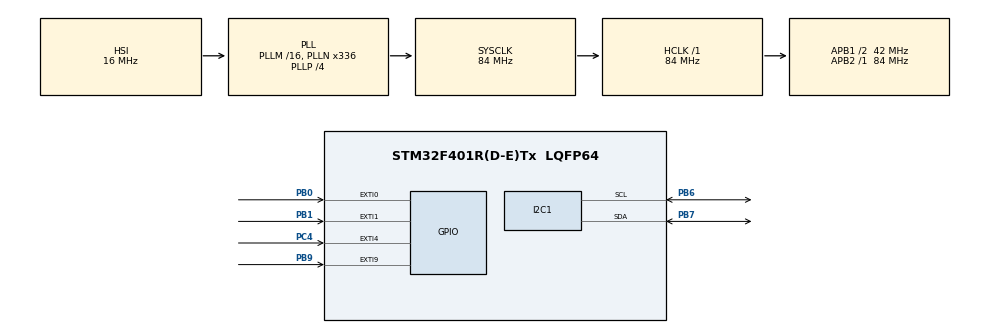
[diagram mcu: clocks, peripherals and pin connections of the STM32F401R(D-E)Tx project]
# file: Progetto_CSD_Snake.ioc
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Mcu.Family=STM32F4
Mcu.Name=STM32F401R(D-E)Tx
Mcu.Package=LQFP64
NVIC.EXTI0_IRQn=true\:0\:1\:false\:false\:true\:true\:true\:true
NVIC.EXTI1_IRQn=true\:0\:1\:false\:false\:true\:true\:true\:true
NVIC.EXTI4_IRQn=true\:0\:1\:false\:false\:true\:true\:true\:true
NVIC.EXTI9_5_IRQn=true\:0\:1\:false\:false\:true\:true\:true\:true
NVIC.PriorityGroup=NVIC_PRIORITYGROUP_0
NVIC.TIM1_UP_TIM10_IRQn=true\:0\:0\:false\:false\:true\:true\:true\:true
PA13.GPIO_Label=TMS
PA13.Mode=Serial_Wire
PA13.Signal=SYS_JTMS-SWDIO
PA14.GPIO_Label=TCK
PA14.Mode=Serial_Wire
PA14.Signal=SYS_JTCK-SWCLK
PB0.Signal=GPXTI0
PB1.Signal=GPXTI1
PB3.GPIO_Label=SWO
PB3.Signal=SYS_JTDO-SWO
PB6.Mode=I2C
PB6.Signal=I2C1_SCL
PB7.Mode=I2C
PB7.Signal=I2C1_SDA
PB9.Signal=GPXTI9
PC14-OSC32_IN.Mode=LSE-External-Oscillator
PC14-OSC32_IN.Signal=RCC_OSC32_IN
PC15-OSC32_OUT.Mode=LSE-External-Oscillator
PC15-OSC32_OUT.Signal=RCC_OSC32_OUT
PC4.Signal=GPXTI4
PH0\ -\ OSC_IN.Mode=HSE-External-Clock-Source
PH0\ -\ OSC_IN.Signal=RCC_OSC_IN
PH1\ -\ OSC_OUT.Mode=HSE-External-Clock-Source
PH1\ -\ OSC_OUT.Signal=RCC_OSC_OUT
ProjectManager.HeapSize=0x200
ProjectManager.StackSize=0x400
ProjectManager.TargetToolchain=STM32CubeIDE
RCC.48MHZClocksFreq_Value=48000000
RCC.AHBFreq_Value=84000000
RCC.APB1CLKDivider=RCC_HCLK_DIV2
RCC.APB1Freq_Value=42000000
RCC.APB1TimFreq_Value=84000000
RCC.APB2Freq_Value=84000000
RCC.APB2TimFreq_Value=84000000
RCC.CortexFreq_Value=84000000
RCC.HCLKFreq_Value=84000000
RCC.HSE_VALUE=8000000
RCC.HSI_VALUE=16000000
RCC.PLLN=336
RCC.PLLP=RCC_PLLP_DIV4
RCC.PLLQ=7
RCC.SYSCLKFreq_VALUE=84000000
RCC.SYSCLKSource=RCC_SYSCLKSOURCE_PLLCLK
RCC.VCOOutputFreq_Value=336000000
TIM10.Period=1000 - 1
TIM10.Prescaler=42000 - 1
VP_TIM10_VS_ClockSourceINT.Mode=Enable_Timer
board=NUCLEO-F401RE

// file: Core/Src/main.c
/* USER CODE BEGIN Header */
/**
  ******************************************************************************
  * @file           : main.c
  * @brief          : Main program body
  ******************************************************************************
  * @attention
  *
  * Copyright (c) 2022 STMicroelectronics.
  * All rights reserved.
  *
  * This software is licensed under terms that can be found in the LICENSE file
  * in the root directory of this software component.
  * If no LICENSE file comes with this software, it is provided AS-IS.
  *
  ******************************************************************************
  */
/* USER CODE END Header */
#include "main.h"
#include "snake.h"
#include "punto.h"
#include "ssd1306.h"
#include "ssd1306_fonts.h"
#include <stdlib.h>
#include <stdio.h>
#include <string.h>

I2C_HandleTypeDef hi2c1;

TIM_HandleTypeDef htim10;

void SystemClock_Config(void);
static void MX_GPIO_Init(void);
static void MX_I2C1_Init(void);
static void MX_TIM10_Init(void);

/* USER CODE BEGIN 0 */
bool lock = false;
int dir_s;
char str[10];
extern int score;
extern bool game_over;
snake * my_snake;
punto frutto;

void HAL_TIM_PeriodElapsedCallback(TIM_HandleTypeDef * htim) {
	if (htim == &htim10){

		HAL_NVIC_EnableIRQ(EXTI0_IRQn);
		HAL_NVIC_EnableIRQ(EXTI1_IRQn);
		HAL_NVIC_EnableIRQ(EXTI4_IRQn);
		HAL_NVIC_EnableIRQ(EXTI9_5_IRQn);

		muovi(my_snake,dir_s,&frutto);

		ssd1306_Fill(Black);
		if (game_over){
			ssd1306_SetCursor(0, 30);
			ssd1306_WriteString("GAME OVER",Font_11x18, White);
			ssd1306_UpdateScreen();
			HAL_TIM_Base_Stop_IT(&htim10);

		}
		else{
			for(int i = 0;i<my_snake ->size;++i){
				punto myPunto = (my_snake->punti_snake)[i];
				ssd1306_FillRectangle(myPunto.x, myPunto.y, myPunto.x+7, myPunto.y+7, White);
			}
			ssd1306_FillRectangle(frutto.x, frutto.y, frutto.x+7, frutto.y+7, White);
			sprintf(str,"%d", score);
			ssd1306_SetCursor(113, 53);
			ssd1306_WriteString(str,Font_7x10, White);
			ssd1306_UpdateScreen();
		}

	}
}

void HAL_GPIO_EXTI_Callback(uint16_t GPIO_Pin){

	switch (GPIO_Pin) {
		case GPIO_PIN_0:
			if(dir_s != SINISTRA){
				dir_s = DESTRA;

				HAL_NVIC_DisableIRQ(EXTI1_IRQn);
				HAL_NVIC_DisableIRQ(EXTI4_IRQn);
				HAL_NVIC_DisableIRQ(EXTI9_5_IRQn);
			}

			break;
		case GPIO_PIN_1:

			if(dir_s != SOPRA){
				dir_s = SOTTO;

				HAL_NVIC_DisableIRQ(EXTI0_IRQn);
				HAL_NVIC_DisableIRQ(EXTI4_IRQn);
				HAL_NVIC_DisableIRQ(EXTI9_5_IRQn);

			}

			break;
		case GPIO_PIN_4:
			if(dir_s != SOTTO){
				dir_s = SOPRA;

				HAL_NVIC_DisableIRQ(EXTI0_IRQn);
				HAL_NVIC_DisableIRQ(EXTI1_IRQn);
				HAL_NVIC_DisableIRQ(EXTI9_5_IRQn);
			}
			break;
		case GPIO_PIN_9:
			if(dir_s != DESTRA){
				dir_s = SINISTRA;

				HAL_NVIC_DisableIRQ(EXTI0_IRQn);
				HAL_NVIC_DisableIRQ(EXTI1_IRQn);
				HAL_NVIC_DisableIRQ(EXTI4_IRQn);
			}
			break;
		default:
			break;
	}

}

/* USER CODE END 0 */

int main(void)
{

  /* MCU Configuration--------------------------------------------------------*/

  /* Reset of all peripherals, Initializes the Flash interface and the Systick. */
  HAL_Init();

  /* Configure the system clock */
  SystemClock_Config();

  /* Initialize all configured peripherals */
  MX_GPIO_Init();
  MX_I2C1_Init();
  MX_TIM10_Init();
  /* USER CODE BEGIN 2 */
  my_snake = (snake*)malloc(sizeof(snake));
  inizializza(my_snake);

  frutto = pun_gen(NULL,NULL);

  dir_s = (my_snake->q_dir)[0];

  ssd1306_Init();
  ssd1306_Fill(Black);

  for(int i = 0;i<N;++i){
	  punto myPunto = (my_snake->punti_snake)[i];
	  ssd1306_FillRectangle(myPunto.x, myPunto.y, myPunto.x+7, myPunto.y+7, White);
  }

  ssd1306_FillRectangle(frutto.x, frutto.y, frutto.x+7, frutto.y+7, White);
  ssd1306_SetCursor(116, 53);
  sprintf(str,"%d", score);
  ssd1306_WriteString(str,Font_7x10, White);
  ssd1306_UpdateScreen();

  HAL_TIM_Base_Start_IT(&htim10);

  /* USER CODE END 2 */

  /* Infinite loop */
  while (1)
  {

  }
}

void SystemClock_Config(void)
{
  RCC_OscInitTypeDef RCC_OscInitStruct = {0};
  RCC_ClkInitTypeDef RCC_ClkInitStruct = {0};

  /** Configure the main internal regulator output voltage
  */
  __HAL_RCC_PWR_CLK_ENABLE();
  __HAL_PWR_VOLTAGESCALING_CONFIG(PWR_REGULATOR_VOLTAGE_SCALE2);

  /** Initializes the RCC Oscillators according to the specified parameters
  * in the RCC_OscInitTypeDef structure.
  */
  RCC_OscInitStruct.OscillatorType = RCC_OSCILLATORTYPE_HSI;
  RCC_OscInitStruct.HSIState = RCC_HSI_ON;
  RCC_OscInitStruct.HSICalibrationValue = RCC_HSICALIBRATION_DEFAULT;
  RCC_OscInitStruct.PLL.PLLState = RCC_PLL_ON;
  RCC_OscInitStruct.PLL.PLLSource = RCC_PLLSOURCE_HSI;
  RCC_OscInitStruct.PLL.PLLM = 16;
  RCC_OscInitStruct.PLL.PLLN = 336;
  RCC_OscInitStruct.PLL.PLLP = RCC_PLLP_DIV4;
  RCC_OscInitStruct.PLL.PLLQ = 7;
  if (HAL_RCC_OscConfig(&RCC_OscInitStruct) != HAL_OK)
  {
    Error_Handler();
  }

  /** Initializes the CPU, AHB and APB buses clocks
  */
  RCC_ClkInitStruct.ClockType = RCC_CLOCKTYPE_HCLK|RCC_CLOCKTYPE_SYSCLK
                              |RCC_CLOCKTYPE_PCLK1|RCC_CLOCKTYPE_PCLK2;
  RCC_ClkInitStruct.SYSCLKSource = RCC_SYSCLKSOURCE_PLLCLK;
  RCC_ClkInitStruct.AHBCLKDivider = RCC_SYSCLK_DIV1;
  RCC_ClkInitStruct.APB1CLKDivider = RCC_HCLK_DIV2;
  RCC_ClkInitStruct.APB2CLKDivider = RCC_HCLK_DIV1;

  if (HAL_RCC_ClockConfig(&RCC_ClkInitStruct, FLASH_LATENCY_2) != HAL_OK)
  {
    Error_Handler();
  }
}

static void MX_I2C1_Init(void)
{

  hi2c1.Instance = I2C1;
  hi2c1.Init.ClockSpeed = 100000;
  hi2c1.Init.DutyCycle = I2C_DUTYCYCLE_2;
  hi2c1.Init.OwnAddress1 = 0;
  hi2c1.Init.AddressingMode = I2C_ADDRESSINGMODE_7BIT;
  hi2c1.Init.DualAddressMode = I2C_DUALADDRESS_DISABLE;
  hi2c1.Init.OwnAddress2 = 0;
  hi2c1.Init.GeneralCallMode = I2C_GENERALCALL_DISABLE;
  hi2c1.Init.NoStretchMode = I2C_NOSTRETCH_DISABLE;
  if (HAL_I2C_Init(&hi2c1) != HAL_OK)
  {
    Error_Handler();
  }

}

static void MX_TIM10_Init(void)
{

  htim10.Instance = TIM10;
  htim10.Init.Prescaler = 42000 - 1;
  htim10.Init.CounterMode = TIM_COUNTERMODE_UP;
  htim10.Init.Period = 1000 - 1;
  htim10.Init.ClockDivision = TIM_CLOCKDIVISION_DIV1;
  htim10.Init.AutoReloadPreload = TIM_AUTORELOAD_PRELOAD_DISABLE;
  if (HAL_TIM_Base_Init(&htim10) != HAL_OK)
  {
    Error_Handler();
  }

}

static void MX_GPIO_Init(void)
{
  GPIO_InitTypeDef GPIO_InitStruct = {0};

  /* GPIO Ports Clock Enable */
  __HAL_RCC_GPIOC_CLK_ENABLE();
  __HAL_RCC_GPIOH_CLK_ENABLE();
  __HAL_RCC_GPIOB_CLK_ENABLE();
  __HAL_RCC_GPIOA_CLK_ENABLE();

  /*Configure GPIO pin : PC4 */
  GPIO_InitStruct.Pin = GPIO_PIN_4;
  GPIO_InitStruct.Mode = GPIO_MODE_IT_RISING;
  GPIO_InitStruct.Pull = GPIO_NOPULL;
  HAL_GPIO_Init(GPIOC, &GPIO_InitStruct);

  /*Configure GPIO pins : PB0 PB1 PB9 */
  GPIO_InitStruct.Pin = GPIO_PIN_0|GPIO_PIN_1|GPIO_PIN_9;
  GPIO_InitStruct.Mode = GPIO_MODE_IT_RISING;
  GPIO_InitStruct.Pull = GPIO_NOPULL;
  HAL_GPIO_Init(GPIOB, &GPIO_InitStruct);

  /* EXTI interrupt init*/
  HAL_NVIC_SetPriority(EXTI0_IRQn, 0, 1);
  HAL_NVIC_EnableIRQ(EXTI0_IRQn);

  HAL_NVIC_SetPriority(EXTI1_IRQn, 0, 1);
  HAL_NVIC_EnableIRQ(EXTI1_IRQn);

  HAL_NVIC_SetPriority(EXTI4_IRQn, 0, 1);
  HAL_NVIC_EnableIRQ(EXTI4_IRQn);

  HAL_NVIC_SetPriority(EXTI9_5_IRQn, 0, 1);
  HAL_NVIC_EnableIRQ(EXTI9_5_IRQn);

}

void Error_Handler(void)
{
  __disable_irq();
  while (1)
  {
  }
}
